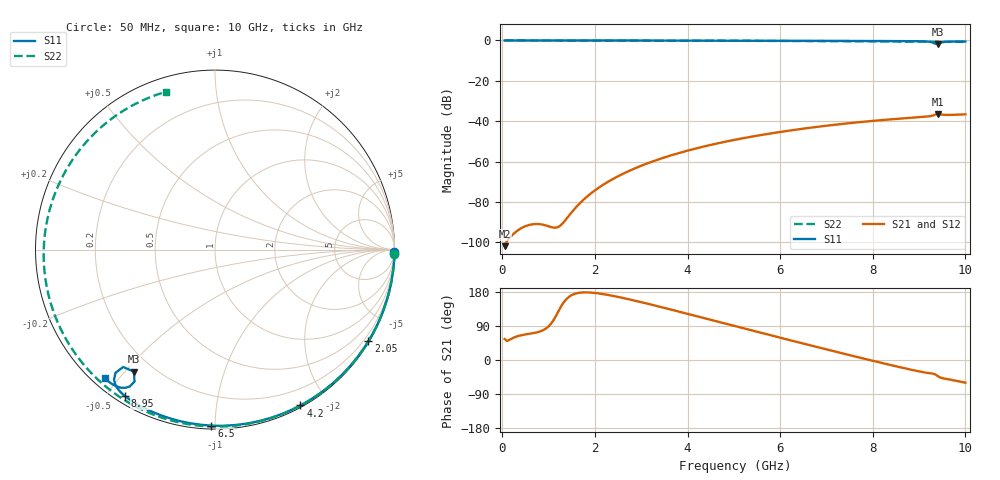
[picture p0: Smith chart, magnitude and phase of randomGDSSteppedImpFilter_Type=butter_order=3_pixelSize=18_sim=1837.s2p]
! freq	dB(S11)	phase(S11)	dB(S12)	phase(S12)
!  dB(S21)	phase(S21)	dB(S22)	phase(S22)
!S-par simulation data
#  GHz  S  DB  R 50
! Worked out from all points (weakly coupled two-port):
!   200 points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, 50 MHz to 10 GHz, reference 50 ohm
!   highest |S21| = -36.46 dB at 9.4 GHz (marker M1); lowest = -101.9 dB at 50 MHz (marker M2)
!   lowest |S11| = -1.8 dB at 9.4 GHz (marker M3), VSWR 9.89, Z = 6.49 - j26.5 ohm
!   |S11| at or under -10 dB: nowhere
!   |S22| runs from -0.7 to 0.0 dB; largest |S21 - S12| = 0
!   S11 on the Smith chart (normalised r, x): 50 MHz: open; 2.05 GHz: 0.03, -3.63; 4.2 GHz: 0.02, -1.69; 6.5 GHz: 0.02, -0.98; 8.95 GHz: 0.03, -0.56; 10 GHz: 0.03, -0.46
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0.05  -0.00 -0.8  -101.87 55.5  -101.87 55.5  -0.00 -1.3
0.85  -0.02 -12.9  -91.10 76.9  -91.10 76.9  -0.02 -21.2
1.7  -0.03 -25.6  -80.04 177.9  -80.04 177.9  -0.05 -41.8
1.75  -0.03 -26.4  -78.95 178.3  -78.95 178.3  -0.05 -43.0
2.05  -0.04 -30.8  -73.42 176.2  -73.42 176.2  -0.06 -50.2
2.35  -0.05 -35.2  -69.09 170.2  -69.09 170.2  -0.07 -57.3
2.65  -0.05 -39.5  -65.53 162.5  -65.53 162.5  -0.08 -64.3
3.4  -0.07 -50.2  -58.69 140.6  -58.69 140.6  -0.11 -81.6
4.2  -0.09 -61.3  -53.37 115.6  -53.37 115.6  -0.14 -99.7
5.05  -0.11 -72.6  -49.06 88.7  -49.06 88.7  -0.18 -118.6
5.75  -0.14 -81.7  -46.21 66.7  -46.21 66.7  -0.23 -134.3
6.5  -0.17 -91.2  -43.67 43.4  -43.67 43.4  -0.29 -151.6
6.7  -0.18 -93.7  -43.07 37.2  -43.07 37.2  -0.31 -156.3
7.55  -0.23 -104.0  -40.83 11.3  -40.83 11.3  -0.40 -177.3
8.35  -0.29 -113.8  -39.14 -12.3  -39.14 -12.3  -0.49 161.0
8.95  -0.38 -121.7  -38.09 -28.8  -38.09 -28.8  -0.57 143.1
9.25  -0.75 -127.8  -37.42 -35.2  -37.42 -35.2  -0.61 133.5
9.35  -1.62 -128.0  -36.72 -38.0  -36.72 -38.0  -0.63 130.2
9.4  -1.76 -123.6  -36.46 -42.3  -36.46 -42.3  -0.64 128.5
9.45  -1.29 -121.4  -36.61 -45.9  -36.61 -45.9  -0.64 126.8
9.55  -0.73 -123.1  -36.87 -49.1  -36.87 -49.1  -0.66 123.4
10  -0.49 -130.6  -36.57 -59.8  -36.57 -59.8  -0.72 107.4
